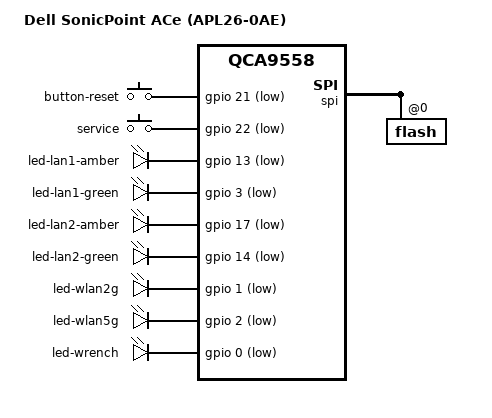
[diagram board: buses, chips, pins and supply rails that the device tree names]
// SPDX-License-Identifier: GPL-2.0-or-later OR MIT

#include "qca9550_dell_apl2x.dtsi"

/ {
	model = "Dell SonicPoint ACe (APL26-0AE)";
	compatible = "dell,apl26-0ae", "qca,qca9550", "qca,qca9558";

	keys {
		button-reset {
			gpios = <&gpio 21 GPIO_ACTIVE_LOW>;
		};

		/* Accessible only after disassembling the casing */
		button-service {
			label = "service";
			gpios = <&gpio 22 GPIO_ACTIVE_LOW>;
			linux,code = <KEY_POWER>;
		};
	};

	leds {
		led-lan1-amber {
			gpios = <&gpio 13 GPIO_ACTIVE_LOW>;
		};

		led-lan1-green {
			gpios = <&gpio 3 GPIO_ACTIVE_LOW>;
		};

		led-lan2-amber {
			gpios = <&gpio 17 GPIO_ACTIVE_LOW>;
		};

		led-lan2-green {
			gpios = <&gpio 14 GPIO_ACTIVE_LOW>;
		};

		led-wlan2g {
			gpios = <&gpio 1 GPIO_ACTIVE_LOW>;
		};

		led-wlan5g {
			gpios = <&gpio 2 GPIO_ACTIVE_LOW>;
		};

		led-wrench {
			gpios = <&gpio 0 GPIO_ACTIVE_LOW>;
		};
	};
};

&pcie0 {
	wifi@0,0 {
		/* OEM overwrites EEPROM stored adress and so do we */
		nvmem-cells = <&macaddr_sysinfo_50 2>;
		nvmem-cell-names = "mac-address";
	};
};

&spi {
	flash@0 {
		broken-flash-reset;
	};
};
